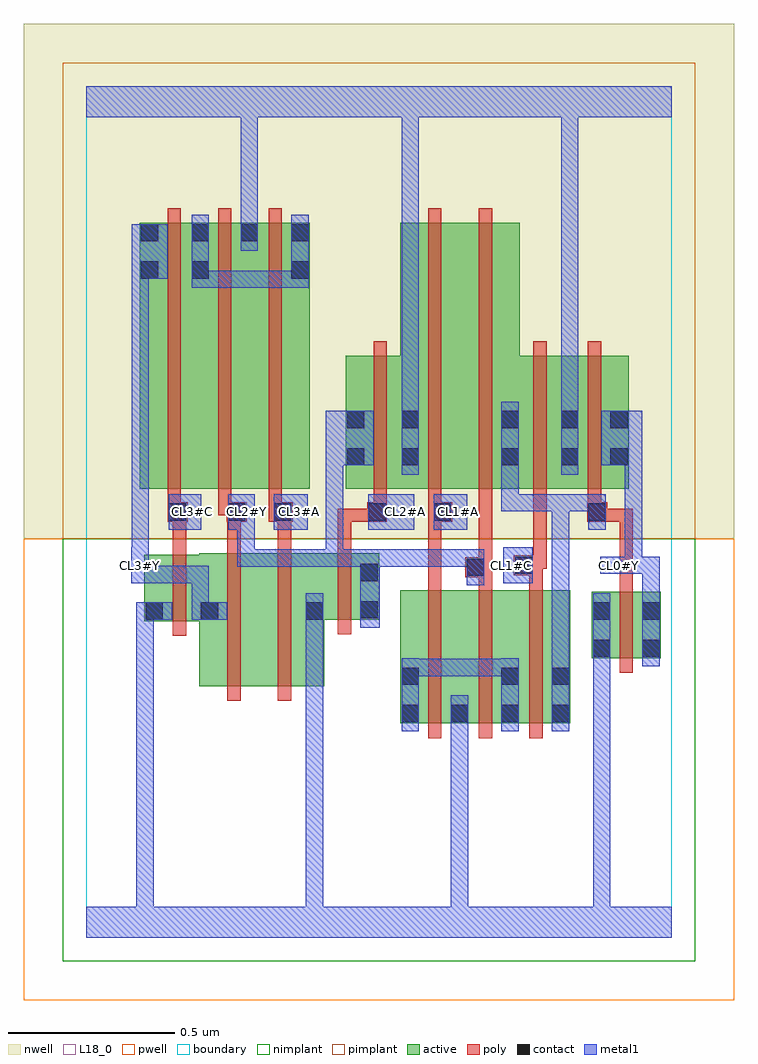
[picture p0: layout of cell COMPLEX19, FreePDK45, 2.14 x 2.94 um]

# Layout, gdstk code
import gdstk
lib = gdstk.Library(unit=1e-6, precision=1e-09)
def R(c, l, rs):  # rectangles x0, y0, x1, y1
    for r in rs: c.add(gdstk.rectangle(r[:2], r[2:], *l))
def A(c, l, x, y, w, h, nx, ny, dx, dy):  # array of equal rectangles
    R(c, l, [(x+i*dx, y+j*dy, x+i*dx+w, y+j*dy+h) for i in range(nx) for j in range(ny)])
active = (1, 0)
pwell = (2, 0)
nwell = (3, 0)
nimplant = (4, 0)
pimplant = (5, 0)
poly = (9, 0)
contact = (10, 0)
metal1 = (11, 0)
L18_0 = (18, 0)
boundary = (235, 0)

complex19 = lib.new_cell('COMPLEX19')
A(complex19, active, 1.092, 0.644, 0.06, 0.4, 3, 1, 0.152, 0)
R(complex19, active, [(0.944,0.644,1.004,1.044), (0.944,0.644,1.152,1.044), (1.092,0.644,1.304,1.044), (1.244,0.644,1.456,1.044), (0.34,0.756,0.52,1.156), (0.52,0.756,0.716,1.156), (0.656,0.756,0.716,1.028), (1.52,0.84,1.58,1.04), (1.52,0.84,1.728,1.04), (1.668,0.84,1.728,1.04), (0.174,0.952,0.234,1.152), (0.174,0.952,0.4,1.152), (0.34,0.952,0.4,1.012), (0.656,0.956,0.88,1.156), (0.82,0.956,0.88,1.156), (0.16,1.35,0.22,2.15), (0.16,1.35,0.372,2.15), (0.312,1.35,0.372,2.15), (0.312,1.35,0.52,2.15), (0.46,1.35,0.672,2.15), (0.612,1.35,0.672,2.15), (0.78,1.35,0.84,1.75), (0.78,1.35,1.004,1.75), (0.944,1.35,1.124,2.15), (1.124,1.35,1.304,2.15), (1.244,1.35,1.484,1.75), (1.244,1.35,1.304,1.716), (1.424,1.35,1.484,1.75), (1.424,1.35,1.632,1.75), (1.572,1.35,1.632,1.75), (0.46,1.366,0.52,2.15), (0.944,1.388,1.004,2.15)])
R(complex19, pwell, [(-0.188,-0.188,1.948,1.2)])
R(complex19, nwell, [(-0.188,1.2,1.948,2.748)])
R(complex19, nimplant, [(-0.072,-0.072,1.832,1.2)])
R(complex19, pimplant, [(-0.072,1.2,1.832,2.632)])
A(complex19, poly, 1.028, 0.6, 0.04, 0.488, 3, 1, 0.152, 0)
A(complex19, poly, 0.244, 1.27, 0.04, 0.076, 3, 1, 0.152, 0)
A(complex19, poly, 0.244, 1.306, 0.04, 0.888, 3, 1, 0.152, 0)
R(complex19, poly, [(0.424,0.712,0.464,1.2), (0.576,0.712,0.616,1.2), (1.604,0.796,1.644,1.084), (0.26,0.908,0.3,1.196), (0.756,0.912,0.796,1.2), (1.604,1.044,1.644,1.29), (1.028,1.048,1.068,1.29), (1.18,1.048,1.22,1.124), (1.332,1.048,1.372,1.13), (1.14,1.084,1.22,1.144), (1.286,1.09,1.372,1.15), (1.18,1.104,1.22,1.144), (1.18,1.104,1.22,1.144), (1.18,1.104,1.22,1.346), (1.332,1.11,1.372,1.15), (1.332,1.11,1.384,1.15), (1.344,1.11,1.384,1.346), (0.26,1.156,0.3,1.29), (0.424,1.16,0.464,1.29), (0.576,1.16,0.616,1.29), (0.756,1.16,0.796,1.29), (0.244,1.25,0.304,1.31), (0.26,1.25,0.3,1.29), (0.26,1.25,0.3,1.29), (0.422,1.25,0.482,1.31), (0.548,1.25,0.62,1.31), (0.576,1.25,0.616,1.29), (0.576,1.25,0.616,1.29), (0.756,1.25,0.884,1.29), (0.844,1.25,0.884,1.29), (0.844,1.25,0.904,1.31), (1.028,1.25,1.068,1.29), (1.028,1.25,1.068,1.29), (1.028,1.25,1.1,1.31), (1.506,1.25,1.566,1.31), (1.526,1.25,1.566,1.29), (1.526,1.25,1.644,1.29), (0.396,1.27,0.462,1.31), (0.422,1.27,0.462,1.31), (0.864,1.27,0.904,1.346), (1.028,1.27,1.068,1.346), (1.508,1.27,1.548,1.346), (0.864,1.306,0.904,1.794), (1.028,1.306,1.068,2.194), (1.18,1.306,1.22,2.194), (1.344,1.306,1.384,1.794), (1.508,1.306,1.548,1.794)])
A(complex19, contact, 1.096, 0.648, 0.052, 0.052, 3, 1, 0.152, 0)
R(complex19, contact, [(0.948,0.648,1,0.7), (0.948,0.76,1,0.812), (1.248,0.76,1.3,0.812), (1.4,0.76,1.452,0.812), (1.524,0.844,1.576,0.896), (1.672,0.844,1.724,0.896), (0.178,0.956,0.23,1.008), (0.344,0.956,0.396,1.008), (0.66,0.956,0.712,1.008), (1.524,0.956,1.576,1.008), (1.672,0.956,1.724,1.008), (0.824,0.96,0.876,1.012), (0.824,1.072,0.876,1.124), (1.144,1.088,1.196,1.14), (1.29,1.094,1.342,1.146), (0.248,1.254,0.3,1.306), (0.426,1.254,0.478,1.306), (0.564,1.254,0.616,1.306), (0.848,1.254,0.9,1.306), (1.044,1.254,1.096,1.306), (1.51,1.254,1.562,1.306), (0.784,1.42,0.836,1.472), (0.948,1.42,1,1.472), (1.248,1.42,1.3,1.472), (1.428,1.42,1.48,1.472), (1.576,1.42,1.628,1.472), (0.784,1.532,0.836,1.584), (0.948,1.532,1,1.584), (1.248,1.532,1.3,1.584), (1.428,1.532,1.48,1.584), (1.576,1.532,1.628,1.584), (0.164,1.982,0.216,2.034), (0.316,1.982,0.368,2.034), (0.616,1.982,0.668,2.034), (0.164,2.094,0.216,2.146), (0.316,2.094,0.368,2.146), (0.464,2.094,0.516,2.146), (0.616,2.094,0.668,2.146)])
R(complex19, metal1, [(0,0,1.76,0.092), (0.15,0.04,0.202,0.092), (0.15,0.04,0.202,0.092), (0.15,0.04,0.202,0.092), (0.15,0.04,0.202,0.092), (0.15,0.04,0.202,0.092), (0.15,0.04,0.202,0.092), (0.15,0.04,0.202,0.092), (0.15,0.04,0.202,0.092), (0.15,0.04,0.202,0.092), (0.15,0.04,0.202,0.092), (0.15,0.04,0.202,0.092), (0.15,0.04,0.202,0.092), (0.15,0.04,0.202,0.092), (0.15,0.04,0.202,0.092), (0.15,0.04,0.202,1.008), (0.66,0.04,0.712,0.202), (1.096,0.04,1.148,0.092), (1.096,0.04,1.148,0.092), (1.096,0.04,1.148,0.092), (1.096,0.04,1.148,0.092), (1.096,0.04,1.148,0.092), (1.096,0.04,1.148,0.092), (1.096,0.04,1.148,0.092), (1.096,0.04,1.148,0.092), (1.096,0.04,1.148,0.672), (1.524,0.04,1.576,0.092), (1.524,0.04,1.576,0.092), (1.524,0.04,1.576,0.092), (1.524,0.04,1.576,0.092), (1.524,0.04,1.576,0.092), (1.524,0.04,1.576,0.092), (1.524,0.04,1.576,0.092), (1.524,0.04,1.576,0.092), (1.524,0.04,1.576,0.092), (1.524,0.04,1.576,0.092), (1.524,0.04,1.576,0.092), (1.524,0.04,1.576,0.092), (1.524,0.04,1.576,0.092), (1.524,0.04,1.576,0.092), (1.524,0.04,1.576,0.092), (1.524,0.04,1.576,0.092), (1.524,0.04,1.576,0.868), (0.66,0.15,0.712,0.202), (0.66,0.15,0.712,0.202), (0.66,0.15,0.712,0.202), (0.66,0.15,0.712,0.202), (0.66,0.15,0.712,0.202), (0.66,0.15,0.712,0.202), (0.66,0.15,0.712,0.202), (0.66,0.15,0.712,0.202), (0.66,0.15,0.712,0.202), (0.66,0.15,0.712,0.202), (0.66,0.15,0.712,0.202), (0.66,0.15,0.712,0.98), (0.948,0.62,1,0.84), (1.096,0.62,1.148,0.672), (1.096,0.62,1.148,0.672), (1.096,0.62,1.148,0.672), (1.096,0.62,1.148,0.672), (1.096,0.62,1.148,0.728), (1.248,0.62,1.3,0.84), (1.4,0.62,1.452,0.84), (0.948,0.786,1,0.838), (0.948,0.786,1,0.838), (0.948,0.786,1.11,0.838), (1.058,0.786,1.11,0.838), (1.058,0.786,1.11,0.838), (1.058,0.786,1.11,0.838), (1.058,0.786,1.3,0.838), (1.4,0.788,1.452,1.334), (1.524,0.816,1.576,1.036), (1.672,0.816,1.724,1.036), (0.66,0.928,0.712,1.036), (0.824,0.932,0.882,1.152), (0.15,0.956,0.202,1.008), (0.15,0.956,0.202,1.008), (0.15,0.956,0.258,1.008), (0.316,0.956,0.368,1.118), (0.316,0.956,0.424,1.008), (1.672,0.984,1.724,1.146), (1.144,1.06,1.196,1.168), (0.134,1.066,0.188,1.174), (0.136,1.066,0.188,1.118), (0.136,1.066,0.188,1.118), (0.136,1.066,0.368,1.118), (0.316,1.066,0.368,1.118), (1.254,1.066,1.342,1.174), (1.546,1.094,1.724,1.146), (1.62,1.094,1.672,1.472), (0.83,1.1,0.882,1.168), (0.454,1.116,0.506,1.278), (0.454,1.116,0.616,1.168), (0.564,1.116,0.616,1.168), (0.564,1.116,0.616,1.168), (0.564,1.116,0.616,1.168), (0.564,1.116,0.772,1.168), (0.72,1.116,0.772,1.168), (0.72,1.116,0.772,1.168), (0.72,1.116,0.772,1.168), (0.72,1.116,0.882,1.168), (0.72,1.116,0.772,1.472), (0.83,1.116,0.882,1.168), (0.83,1.116,0.882,1.168), (0.83,1.116,0.882,1.168), (0.83,1.116,1,1.168), (0.948,1.116,1,1.168), (0.948,1.116,1,1.168), (0.948,1.116,1,1.168), (0.948,1.116,1.19,1.168), (1.138,1.116,1.19,1.168), (1.138,1.116,1.196,1.168), (0.136,1.122,0.188,2.034), (0.248,1.226,0.346,1.334), (0.426,1.226,0.506,1.334), (0.454,1.226,0.506,1.278), (0.564,1.226,0.666,1.334), (0.848,1.226,0.986,1.334), (1.044,1.226,1.146,1.334), (1.51,1.226,1.562,1.334), (1.248,1.282,1.3,1.334), (1.248,1.282,1.3,1.334), (1.248,1.282,1.3,1.334), (1.248,1.282,1.3,1.444), (1.248,1.282,1.452,1.334), (1.4,1.282,1.452,1.334), (1.4,1.282,1.452,1.334), (1.4,1.282,1.452,1.334), (1.4,1.282,1.452,1.334), (1.4,1.282,1.452,1.334), (1.4,1.282,1.562,1.334), (0.948,1.392,1,1.612), (1.248,1.392,1.3,1.612), (1.428,1.392,1.48,1.612), (0.72,1.42,0.864,1.584), (1.548,1.42,1.672,1.584), (1.62,1.42,1.672,1.472), (1.62,1.42,1.672,1.472), (0.948,1.56,1,2.52), (1.428,1.56,1.48,1.612), (1.428,1.56,1.48,1.612), (1.428,1.56,1.48,1.612), (1.428,1.56,1.48,1.612), (1.428,1.56,1.48,1.612), (1.428,1.56,1.48,1.612), (1.428,1.56,1.48,1.612), (1.428,1.56,1.48,1.612), (1.428,1.56,1.48,1.612), (1.428,1.56,1.48,1.612), (1.428,1.56,1.48,2.52), (0.316,1.954,0.368,2.006), (0.316,1.954,0.368,2.006), (0.316,1.954,0.368,2.174), (0.316,1.954,0.478,2.006), (0.426,1.954,0.478,2.006), (0.426,1.954,0.662,2.006), (0.61,1.954,0.662,2.006), (0.61,1.954,0.668,2.006), (0.616,1.954,0.668,2.174), (0.136,1.982,0.188,2.034), (0.136,1.982,0.188,2.034), (0.136,1.982,0.244,2.146), (0.464,2.066,0.516,2.174), (0.464,2.122,0.516,2.174), (0.464,2.122,0.516,2.174), (0.464,2.122,0.516,2.52), (0,2.468,1.76,2.56), (0.464,2.468,0.516,2.52), (0.464,2.468,0.516,2.52), (0.464,2.468,0.516,2.52), (0.464,2.468,0.516,2.52), (0.464,2.468,0.516,2.52), (0.464,2.468,0.516,2.52), (0.948,2.468,1,2.52), (0.948,2.468,1,2.52), (0.948,2.468,1,2.52), (0.948,2.468,1,2.52), (0.948,2.468,1,2.52), (0.948,2.468,1,2.52), (0.948,2.468,1,2.52), (0.948,2.468,1,2.52), (1.428,2.468,1.48,2.52), (1.428,2.468,1.48,2.52), (1.428,2.468,1.48,2.52), (1.428,2.468,1.48,2.52), (1.428,2.468,1.48,2.52), (1.428,2.468,1.48,2.52)])
A(complex19, L18_0, 0.294, 1.254, 0.052, 0.052, 3, 1, 0.16, 0)
R(complex19, L18_0, [(0,0,1.76,0.092), (0.15,0.04,0.202,0.092), (0.15,0.04,0.202,0.092), (0.15,0.04,0.202,0.092), (0.15,0.04,0.202,0.092), (0.15,0.04,0.202,0.092), (0.15,0.04,0.202,0.092), (0.15,0.04,0.202,0.092), (0.15,0.04,0.202,0.092), (0.15,0.04,0.202,0.092), (0.15,0.04,0.202,0.092), (0.15,0.04,0.202,0.092), (0.15,0.04,0.202,0.092), (0.15,0.04,0.202,0.092), (0.15,0.04,0.202,0.092), (0.15,0.04,0.202,1.008), (0.66,0.04,0.712,0.202), (1.096,0.04,1.148,0.092), (1.096,0.04,1.148,0.092), (1.096,0.04,1.148,0.092), (1.096,0.04,1.148,0.092), (1.096,0.04,1.148,0.092), (1.096,0.04,1.148,0.092), (1.096,0.04,1.148,0.092), (1.096,0.04,1.148,0.092), (1.096,0.04,1.148,0.672), (1.524,0.04,1.576,0.092), (1.524,0.04,1.576,0.092), (1.524,0.04,1.576,0.092), (1.524,0.04,1.576,0.092), (1.524,0.04,1.576,0.092), (1.524,0.04,1.576,0.092), (1.524,0.04,1.576,0.092), (1.524,0.04,1.576,0.092), (1.524,0.04,1.576,0.092), (1.524,0.04,1.576,0.092), (1.524,0.04,1.576,0.092), (1.524,0.04,1.576,0.092), (1.524,0.04,1.576,0.092), (1.524,0.04,1.576,0.092), (1.524,0.04,1.576,0.092), (1.524,0.04,1.576,0.092), (1.524,0.04,1.576,0.868), (0.66,0.15,0.712,0.202), (0.66,0.15,0.712,0.202), (0.66,0.15,0.712,0.202), (0.66,0.15,0.712,0.202), (0.66,0.15,0.712,0.202), (0.66,0.15,0.712,0.202), (0.66,0.15,0.712,0.202), (0.66,0.15,0.712,0.202), (0.66,0.15,0.712,0.202), (0.66,0.15,0.712,0.202), (0.66,0.15,0.712,0.202), (0.66,0.15,0.712,0.98), (1.096,0.62,1.148,0.672), (1.096,0.62,1.148,0.672), (1.096,0.62,1.148,0.672), (1.096,0.62,1.148,0.672), (1.096,0.62,1.148,0.728), (1.524,0.816,1.576,1.036), (1.672,0.816,1.724,1.036), (0.66,0.928,0.712,1.036), (0.824,0.932,0.882,1.152), (0.15,0.956,0.202,1.008), (0.15,0.956,0.202,1.008), (0.15,0.956,0.258,1.008), (0.316,0.956,0.424,1.008), (0.316,0.956,0.368,1.118), (1.672,0.984,1.724,1.146), (1.144,1.06,1.196,1.168), (0.134,1.066,0.188,1.174), (0.136,1.066,0.188,1.118), (0.136,1.066,0.188,1.118), (0.136,1.066,0.368,1.118), (0.316,1.066,0.368,1.118), (1.254,1.066,1.342,1.174), (0.134,1.094,0.186,1.146), (1.254,1.094,1.306,1.146), (1.546,1.094,1.724,1.146), (1.574,1.094,1.626,1.146), (1.62,1.094,1.672,1.472), (0.83,1.1,0.882,1.168), (0.454,1.116,0.506,1.278), (0.454,1.116,0.616,1.168), (0.564,1.116,0.616,1.168), (0.564,1.116,0.616,1.168), (0.564,1.116,0.616,1.168), (0.564,1.116,0.772,1.168), (0.72,1.116,0.772,1.168), (0.72,1.116,0.772,1.168), (0.72,1.116,0.772,1.168), (0.72,1.116,0.882,1.168), (0.72,1.116,0.772,1.472), (0.83,1.116,0.882,1.168), (0.83,1.116,0.882,1.168), (0.83,1.116,0.882,1.168), (0.83,1.116,1,1.168), (0.948,1.116,1,1.168), (0.948,1.116,1,1.168), (0.948,1.116,1,1.168), (0.948,1.116,1.19,1.168), (1.138,1.116,1.19,1.168), (1.138,1.116,1.196,1.168), (0.136,1.122,0.188,2.034), (0.248,1.226,0.346,1.334), (0.426,1.226,0.506,1.334), (0.454,1.226,0.506,1.278), (0.564,1.226,0.666,1.334), (0.848,1.226,0.986,1.334), (1.044,1.226,1.146,1.334), (0.934,1.254,0.986,1.306), (1.094,1.254,1.146,1.306), (0.948,1.392,1,1.612), (1.428,1.392,1.48,1.612), (0.72,1.42,0.864,1.584), (1.548,1.42,1.672,1.584), (1.62,1.42,1.672,1.472), (1.62,1.42,1.672,1.472), (0.948,1.56,1,2.52), (1.428,1.56,1.48,1.612), (1.428,1.56,1.48,1.612), (1.428,1.56,1.48,1.612), (1.428,1.56,1.48,1.612), (1.428,1.56,1.48,1.612), (1.428,1.56,1.48,1.612), (1.428,1.56,1.48,1.612), (1.428,1.56,1.48,1.612), (1.428,1.56,1.48,1.612), (1.428,1.56,1.48,1.612), (1.428,1.56,1.48,2.52), (0.136,1.982,0.188,2.034), (0.136,1.982,0.188,2.034), (0.136,1.982,0.244,2.146), (0.464,2.066,0.516,2.174), (0.464,2.122,0.516,2.174), (0.464,2.122,0.516,2.174), (0.464,2.122,0.516,2.52), (0,2.468,1.76,2.56), (0.464,2.468,0.516,2.52), (0.464,2.468,0.516,2.52), (0.464,2.468,0.516,2.52), (0.464,2.468,0.516,2.52), (0.464,2.468,0.516,2.52), (0.464,2.468,0.516,2.52), (0.948,2.468,1,2.52), (0.948,2.468,1,2.52), (0.948,2.468,1,2.52), (0.948,2.468,1,2.52), (0.948,2.468,1,2.52), (0.948,2.468,1,2.52), (0.948,2.468,1,2.52), (0.948,2.468,1,2.52), (1.428,2.468,1.48,2.52), (1.428,2.468,1.48,2.52), (1.428,2.468,1.48,2.52), (1.428,2.468,1.48,2.52), (1.428,2.468,1.48,2.52), (1.428,2.468,1.48,2.52)])
R(complex19, boundary, [(0,0,1.76,2.56)])
complex19.add(gdstk.Label('CL0#Y', (1.6,1.12), layer=11, texttype=0))
complex19.add(gdstk.Label('CL1#A', (1.12,1.28), layer=11, texttype=0))
complex19.add(gdstk.Label('CL1#C', (1.28,1.12), layer=11, texttype=0))
complex19.add(gdstk.Label('CL2#A', (0.96,1.28), layer=11, texttype=0))
complex19.add(gdstk.Label('CL2#Y', (0.48,1.28), layer=11, texttype=0))
complex19.add(gdstk.Label('CL3#A', (0.64,1.28), layer=11, texttype=0))
complex19.add(gdstk.Label('CL3#C', (0.32,1.28), layer=11, texttype=0))
complex19.add(gdstk.Label('CL3#Y', (0.16,1.12), layer=11, texttype=0))

lib.write_gds('COMPLEX19.gds')
